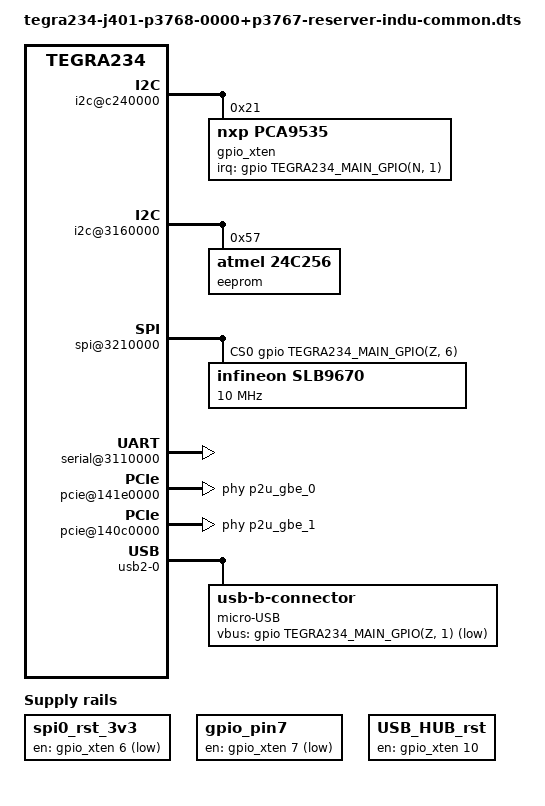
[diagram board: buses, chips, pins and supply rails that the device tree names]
// SPDX-License-Identifier: GPL-2.0-only
// SPDX-FileCopyrightText: Copyright (c) 2023, NVIDIA CORPORATION & AFFILIATES.  All rights reserved.

/dts-v1/;

#include "tegra234-j401-indu-p3768-0000+p3767-0000.dts"
#include "tegra234-p3768-0000+p3767-xxxx-nv-common.dtsi"
#include <dt-bindings/tegra234-p3767-0000-common.h>

/ {
	bus@0 {
		i2c@c240000 {
			#address-cells = <1>;
			#size-cells = <0>;

			gpio_xten: gpio_xten@21 {
				compatible = "nxp,pca9535";
				reg = <0x21>;
		                gpio-controller;
		                #gpio-cells = <2>;
		
		                interrupt-controller;
		                #interrupt-cells=<2>;
		
		                interrupt-parent = <&gpio>;
		                interrupts = <TEGRA234_MAIN_GPIO(N, 1) IRQ_TYPE_EDGE_FALLING>;
		
				gpio-line-names =
					"PSE_PG"	,"PSE_INTB",
					"gpio_pin2"	,"gpio_pin3",
					"pcie_wake_3v3"	,"pcie_sx1261_rst_3v3",
					"spi0_rst_3v3"	,"uart1_en_3v3",
					"can_120R_en"	,"M2B_PCIe_rst",
					"USB_HUB_rst"	,"PCIe_ETH_rst",
					"M2B_WOWWAN"	,"M2B_DPR_3V3",
					"SIM_MUX_SEL"	,"PSE_PWR_EN";

				gpio-line-offsets = <0>, <1>, <2>, <3>, <4>, <5>, <6>, <7>, <8>, <9>, <10>, <11>, <12>, <13>, <14>, <15>;
			};
		};

                i2c@3160000 {
                        #address-cells = <1>;
                        #size-cells = <0>;

                        eeprom@57 {
                                compatible = "atmel,24c256";
                                reg = <0x57>;
                                /*16 bit*/
                                address-width = <0x10>;
                                /*32768 bytes */
                                size = <0x8000>;
				/delete-property/ read-only;

                        };
                };

        	spi@3210000 {
        	        #address-cells = <0x01>;
        	        #size-cells = <0x00>;

        	        status = "okay";
        	        cs-gpios = <&gpio TEGRA234_MAIN_GPIO(Z, 6) GPIO_ACTIVE_HIGH>;
        	        num-cs = <1>;

        	        spi@0 {
				status = "disabled";
        	        };

        	        spi@1 {
				status = "disabled";
        	        };

        	        slb9670@0 {
        	                compatible = "infineon,slb9670";
        	                status = "okay";
        	                reg = <0x0>;
        	                spi-max-frequency = <10000000>;
        	                controller-data {
        	                        nvidia,cs-setup-clk-count = <0x1e>;
        	                        nvidia,cs-hold-clk-count = <0x1e>;
        	                        nvidia,rx-clk-tap-delay = <0x7>;
        	                        nvidia,tx-clk-tap-delay = <0x0>;
        	                        nvidia,cs-inactive-cycles = <0x6>;
        	                };
        	        };
        	};

		serial@3110000 {
			status = "okay";
		};

		pcie@141e0000 {
			status = "okay";
			phys = <&p2u_gbe_0>;
			phy-names = "p2u-0";
		};

		pcie@140c0000 {
			status = "okay";
			phys = <&p2u_gbe_1>;
			phy-names = "p2u-0";
		};

                padctl@3520000 {
                        ports {
                                usb2-0 {
                                       connector {
                                               compatible = "usb-b-connector", "gpio-usb-b-connector";
                                               label = "micro-USB";
                                               type = "micro";
                                               vbus-gpio = <&gpio TEGRA234_MAIN_GPIO(Z, 1) GPIO_ACTIVE_LOW>;
                                       };
                                };
                        };
                };

		spi0_rst_3v3: gpio_xten_pin@6 {
			compatible = "regulator-fixed";
			regulator-name = "spi0_rst_3v3";
			gpios = <&gpio_xten 6 GPIO_ACTIVE_HIGH>;
			enable-active-low;
			regulator-always-on;
		};

		gpio_pin7: gpio_xten_pin@7 {
			compatible = "regulator-fixed";
			regulator-name = "gpio_pin7";
			gpios = <&gpio_xten 7 GPIO_ACTIVE_HIGH>;
                        enable-active-low;
                        regulator-always-on;
		};
		USB_HUB_rst: gpio_xten_pin@10 {
			compatible = "regulator-fixed";
			regulator-name = "USB_HUB_rst";
			gpios = <&gpio_xten 10 GPIO_ACTIVE_HIGH>;
			enable-active-high;
			regulator-always-on;
		};

		pinmux@2430000 {
			pinctrl-names = "default";
			pinctrl-0 = <&jetson_io_pinmux>;
		
			jetson_io_pinmux: exp-header-pinmux {
				hdr40-pin19 {
					nvidia,pins = HDR40_PIN19;
					nvidia,function = HDR40_SPI;
					nvidia,pull = <TEGRA_PIN_PULL_DOWN>;
					nvidia,tristate = <TEGRA_PIN_DISABLE>;
					nvidia,enable-input = <TEGRA_PIN_DISABLE>;
				};
				hdr40-pin21 {
					nvidia,pins = HDR40_PIN21;
					nvidia,function = HDR40_SPI;
					nvidia,pull = <TEGRA_PIN_PULL_DOWN>;
					nvidia,tristate = <TEGRA_PIN_DISABLE>;
					nvidia,enable-input = <TEGRA_PIN_ENABLE>;
				};
				hdr40-pin23 {
					nvidia,pins = HDR40_PIN23;
					nvidia,function = HDR40_SPI;
					nvidia,pull = <TEGRA_PIN_PULL_DOWN>;
					nvidia,tristate = <TEGRA_PIN_DISABLE>;
					nvidia,enable-input = <TEGRA_PIN_ENABLE>;
				};
				hdr40-pin24 {
					nvidia,pins = HDR40_PIN24;
					nvidia,function = HDR40_SPI;
					nvidia,pull = <TEGRA_PIN_PULL_UP>;
					nvidia,tristate = <TEGRA_PIN_DISABLE>;
					nvidia,enable-input = <TEGRA_PIN_DISABLE>;
				};
		
		                hdr40-pin26 {
		                        nvidia,pins = HDR40_PIN26;
		                        nvidia,function = "gp";
		                        nvidia,pull = <TEGRA_PIN_PULL_UP>;
		                        nvidia,tristate = <TEGRA_PIN_DISABLE>;
		                        nvidia,enable-input = <TEGRA_PIN_DISABLE>;
		                };
		
		                hdr40-pin29 {
		                        nvidia,pins = "can0_din_paa1";
		                        nvidia,function = "can0";
		                        nvidia,pin-label = "can0_din";
		                        nvidia,tristate = <TEGRA_PIN_ENABLE>;
		                        nvidia,enable-input = <TEGRA_PIN_ENABLE>;
		                };
		                hdr40-pin31 {
		                        nvidia,pins = "can0_dout_paa0";
		                        nvidia,function = "can0";
		                        nvidia,pin-label = "can0_dout";
		                        nvidia,tristate = <TEGRA_PIN_DISABLE>;
		                        nvidia,enable-input = <TEGRA_PIN_DISABLE>;
		                };
		
		                hdr40-pin13 {
		                        nvidia,pins = "spi3_sck_py0";
		                        nvidia,function = "spi3";
		                        nvidia,pin-label = "spi3_sck";
		                        nvidia,tristate = <TEGRA_PIN_DISABLE>;
		                        nvidia,enable-input = <TEGRA_PIN_ENABLE>;
		
		                };
		
		                hdr40-pin16 {
		                        nvidia,pins = "spi3_cs1_py4";
		                        nvidia,function = "spi3";
		                        nvidia,pin-label = "spi3_cs1";
		                        nvidia,tristate = <TEGRA_PIN_DISABLE>;
		                        nvidia,enable-input = <TEGRA_PIN_ENABLE>;
		
		                };
		                hdr40-pin18 {
		                        nvidia,pins = "spi3_cs0_py3";
		                        nvidia,function = "spi3";
		                        nvidia,pin-label = "spi3_cs0";
		                        nvidia,tristate = <TEGRA_PIN_DISABLE>;
		                        nvidia,enable-input = <TEGRA_PIN_ENABLE>;
		
		                };
		
		                hdr40-pin37 {
		                        nvidia,pins = "spi3_mosi_py2";
		                        nvidia,function = "spi3";
		                        nvidia,pin-label = "spi3_dout";
		                        nvidia,tristate = <TEGRA_PIN_DISABLE>;
		                        nvidia,enable-input = <TEGRA_PIN_ENABLE>;
		
		                };
		
		                hdr40-pin22 {
		                        nvidia,pins = "spi3_miso_py1";
		                        nvidia,function = "spi3";
		                        nvidia,pin-label = "spi3_din";
		                        nvidia,pull = <TEGRA_PIN_PULL_DOWN>;
		                        nvidia,tristate = <TEGRA_PIN_DISABLE>;
		                        nvidia,enable-input = <TEGRA_PIN_ENABLE>;
		                };
			};
		};
	};
};

